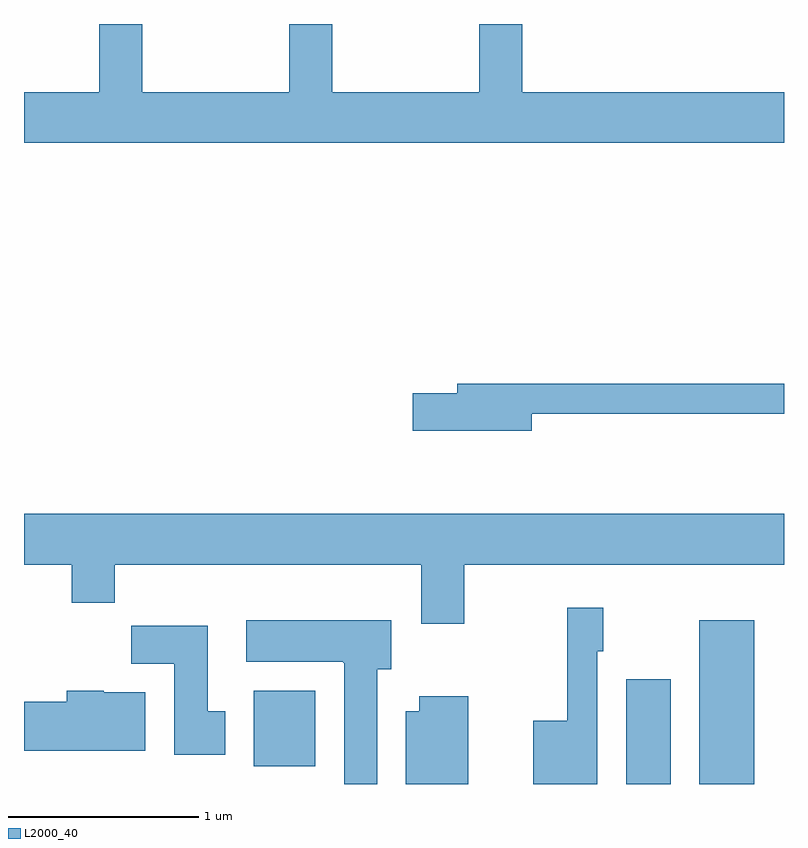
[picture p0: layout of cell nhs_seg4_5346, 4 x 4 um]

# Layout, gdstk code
import gdstk
lib = gdstk.Library(unit=1e-6, precision=1e-09)
def R(c, l, rs):  # rectangles x0, y0, x1, y1
    for r in rs: c.add(gdstk.rectangle(r[:2], r[2:], *l))
def P(c, l, *ps):  # polygons
    for p in ps: c.add(gdstk.Polygon(p, *l))
L2000_40 = (2000, 40)

nhs_seg4_5346 = lib.new_cell('nhs_seg4_5346')
R(nhs_seg4_5346, L2000_40, [(344.781,1337.982,345.014,1338.534), (345.166,1337.982,345.454,1338.844), (342.821,1338.076,343.144,1338.474)])
P(nhs_seg4_5346, L2000_40, [(345.611,1341.624),(344.234,1341.624),(344.234,1341.982),(344.006,1341.982),(344.006,1341.624),(343.234,1341.624),(343.234,1341.982),(343.006,1341.982),(343.006,1341.624),(342.234,1341.624),(342.234,1341.982),(342.006,1341.982),(342.006,1341.624),(341.611,1341.624),(341.611,1341.356),(345.611,1341.356)],
  [(344.284,1339.931),(345.611,1339.931),(345.611,1340.089),(343.891,1340.089),(343.891,1340.039),(343.656,1340.039),(343.656,1339.841),(344.284,1339.841)],
  [(343.929,1339.136),(345.611,1339.136),(345.611,1339.404),(341.611,1339.404),(341.611,1339.136),(341.861,1339.136),(341.861,1338.936),(342.089,1338.936),(342.089,1339.136),(343.701,1339.136),(343.701,1338.826),(343.929,1338.826)],
  [(344.629,1338.681),(344.659,1338.681),(344.659,1338.909),(344.471,1338.909),(344.471,1338.314),(344.291,1338.314),(344.291,1337.982),(344.629,1337.982)],
  [(343.469,1338.586),(343.544,1338.586),(343.544,1338.844),(342.781,1338.844),(342.781,1338.626),(343.29,1338.626),(343.29,1338.62),(343.296,1338.62),(343.296,1337.982),(343.469,1337.982)],
  [(342.669,1338.364),(342.579,1338.364),(342.579,1338.814),(342.176,1338.814),(342.176,1338.616),(342.401,1338.616),(342.401,1338.136),(342.669,1338.136)],
  [(342.249,1338.464),(342.03,1338.464),(342.03,1338.474),(341.836,1338.474),(341.836,1338.414),(341.611,1338.414),(341.611,1338.156),(342.249,1338.156)],
  [(343.949,1338.444),(343.691,1338.444),(343.691,1338.364),(343.621,1338.364),(343.621,1337.982),(343.949,1337.982)])

lib.write_gds('nhs_seg4_5346.gds')
